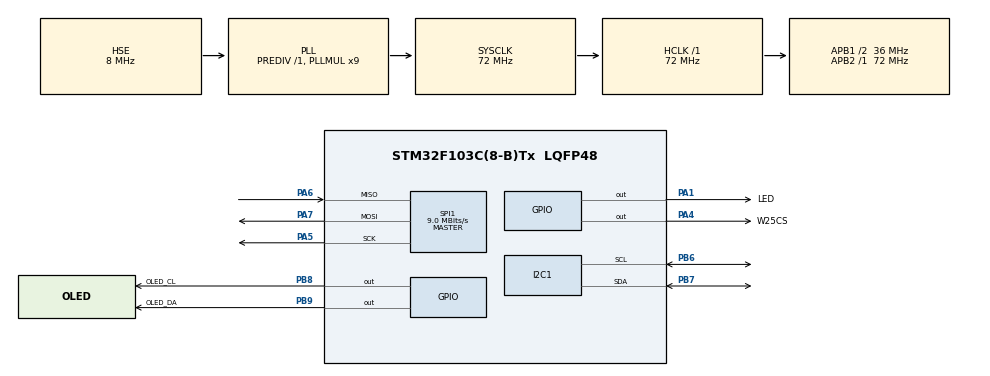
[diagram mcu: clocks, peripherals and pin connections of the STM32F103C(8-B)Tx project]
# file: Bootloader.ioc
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Mcu.Family=STM32F1
Mcu.Name=STM32F103C(8-B)Tx
Mcu.Package=LQFP48
NVIC.PriorityGroup=NVIC_PRIORITYGROUP_4
PA1.GPIO_Label=LED
PA1.Signal=GPIO_Output
PA13.Mode=Serial_Wire
PA13.Signal=SYS_JTMS-SWDIO
PA14.Mode=Serial_Wire
PA14.Signal=SYS_JTCK-SWCLK
PA4.GPIO_Label=W25CS
PA4.PinState=GPIO_PIN_SET
PA4.Signal=GPIO_Output
PA5.Mode=Full_Duplex_Master
PA5.Signal=SPI1_SCK
PA6.Mode=Full_Duplex_Master
PA6.Signal=SPI1_MISO
PA7.Mode=Full_Duplex_Master
PA7.Signal=SPI1_MOSI
PB6.Mode=I2C
PB6.Signal=I2C1_SCL
PB7.Mode=I2C
PB7.Signal=I2C1_SDA
PB8.GPIO_Label=OLED_CL
PB8.GPIO_ModeDefaultOutputPP=GPIO_MODE_OUTPUT_OD
PB8.GPIO_PuPd=GPIO_NOPULL
PB8.PinState=GPIO_PIN_SET
PB8.Signal=GPIO_Output
PB9.GPIO_Label=OLED_DA
PB9.GPIO_ModeDefaultOutputPP=GPIO_MODE_OUTPUT_OD
PB9.GPIO_PuPd=GPIO_NOPULL
PB9.PinState=GPIO_PIN_SET
PB9.Signal=GPIO_Output
PC14-OSC32_IN.Mode=LSE-External-Oscillator
PC14-OSC32_IN.Signal=RCC_OSC32_IN
PC15-OSC32_OUT.Mode=LSE-External-Oscillator
PC15-OSC32_OUT.Signal=RCC_OSC32_OUT
PD0-OSC_IN.Mode=HSE-External-Oscillator
PD0-OSC_IN.Signal=RCC_OSC_IN
PD1-OSC_OUT.Mode=HSE-External-Oscillator
PD1-OSC_OUT.Signal=RCC_OSC_OUT
ProjectManager.HeapSize=0x200
ProjectManager.StackSize=0x400
ProjectManager.TargetToolchain=CMake
RCC.AHBFreq_Value=72000000
RCC.APB1CLKDivider=RCC_HCLK_DIV2
RCC.APB1Freq_Value=36000000
RCC.APB1TimFreq_Value=72000000
RCC.APB2Freq_Value=72000000
RCC.APB2TimFreq_Value=72000000
RCC.HCLKFreq_Value=72000000
RCC.PLLMUL=RCC_PLL_MUL9
RCC.PLLSourceVirtual=RCC_PLLSOURCE_HSE
RCC.SYSCLKFreq_VALUE=72000000
RCC.SYSCLKSource=RCC_SYSCLKSOURCE_PLLCLK
RCC.USBFreq_Value=72000000
SPI1.BaudRatePrescaler=SPI_BAUDRATEPRESCALER_8
SPI1.CalculateBaudRate=9.0 MBits/s
SPI1.Direction=SPI_DIRECTION_2LINES
SPI1.Mode=SPI_MODE_MASTER
SPI1.VirtualType=VM_MASTER
board=custom

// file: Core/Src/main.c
/* USER CODE BEGIN Header */
/**
  ******************************************************************************
  * @file           : main.c
  * @brief          : Main program body
  ******************************************************************************
  * @attention
  *
  * Copyright (c) 2026 STMicroelectronics.
  * All rights reserved.
  *
  * This software is licensed under terms that can be found in the LICENSE file
  * in the root directory of this software component.
  * If no LICENSE file comes with this software, it is provided AS-IS.
  *
  ******************************************************************************
  */
/* USER CODE END Header */
#include "main.h"
#include "i2c.h"
#include "spi.h"
#include "gpio.h"

/* USER CODE BEGIN Includes */
#include "bsp_at24cxx.h"
#include "bsp_w25qxx.h"
#include "bsp_flash.h"
#include "boot_jump.h"
#include "ota_boot.h"
#include "OLED.h"

/* USER CODE END Includes */

void SystemClock_Config(void);
/* USER CODE BEGIN PFP */
static void System_Init(void);
static void Handle_BootState(OtaBootState_t state);

/* USER CODE END PFP */

int main(void)
{

  /* MCU Configuration--------------------------------------------------------*/

  /* Reset of all peripherals, Initializes the Flash interface and the Systick. */
  HAL_Init();

  /* Configure the system clock */
  SystemClock_Config();

  /* Initialize all configured peripherals */
  MX_GPIO_Init();
  MX_I2C1_Init();
  MX_SPI1_Init();
  /* USER CODE BEGIN 2 */
  System_Init();

  OLED_Clear();
  OLED_ShowString(0, 0, (uint8_t*)"Bootloader v1.0", 16);
  OLED_Update();

  /* 检查并执行 OTA 搬运 */
  OtaBootState_t boot_state = OtaBoot_CheckAndApply();
  Handle_BootState(boot_state);

  /* 检查 App 合法性并跳转 */
  if (Boot_CheckApp(APP_ADDRESS) == 0) {
      OLED_Clear();
      OLED_ShowString(0, 0, (uint8_t*)"No valid App", 16);
      OLED_ShowString(0, 16, (uint8_t*)"Wait for OTA...", 16);
      OLED_Update();
      while (1) {}
  }

  /* 跳转到 App */
  OLED_Clear();
  OLED_ShowString(0, 0, (uint8_t*)"Jumping to App", 16);
  OLED_Update();
  HAL_Delay(500);

  Boot_JumpToApp(APP_ADDRESS);

  while (1) {}
  /* USER CODE END 2 */

  /* Infinite loop */

}

/**`
  * @brief System Clock Configuration
  * @retval None
  */
void SystemClock_Config(void)
{
  RCC_OscInitTypeDef RCC_OscInitStruct = {0};
  RCC_ClkInitTypeDef RCC_ClkInitStruct = {0};

  /** Initializes the RCC Oscillators according to the specified parameters
  * in the RCC_OscInitTypeDef structure.
  */
  RCC_OscInitStruct.OscillatorType = RCC_OSCILLATORTYPE_HSE;
  RCC_OscInitStruct.HSEState = RCC_HSE_ON;
  RCC_OscInitStruct.HSEPredivValue = RCC_HSE_PREDIV_DIV1;
  RCC_OscInitStruct.HSIState = RCC_HSI_ON;
  RCC_OscInitStruct.PLL.PLLState = RCC_PLL_ON;
  RCC_OscInitStruct.PLL.PLLSource = RCC_PLLSOURCE_HSE;
  RCC_OscInitStruct.PLL.PLLMUL = RCC_PLL_MUL9;
  if (HAL_RCC_OscConfig(&RCC_OscInitStruct) != HAL_OK)
  {
    Error_Handler();
  }

  /** Initializes the CPU, AHB and APB buses clocks
  */
  RCC_ClkInitStruct.ClockType = RCC_CLOCKTYPE_HCLK|RCC_CLOCKTYPE_SYSCLK
                              |RCC_CLOCKTYPE_PCLK1|RCC_CLOCKTYPE_PCLK2;
  RCC_ClkInitStruct.SYSCLKSource = RCC_SYSCLKSOURCE_PLLCLK;
  RCC_ClkInitStruct.AHBCLKDivider = RCC_SYSCLK_DIV1;
  RCC_ClkInitStruct.APB1CLKDivider = RCC_HCLK_DIV2;
  RCC_ClkInitStruct.APB2CLKDivider = RCC_HCLK_DIV1;

  if (HAL_RCC_ClockConfig(&RCC_ClkInitStruct, FLASH_LATENCY_2) != HAL_OK)
  {
    Error_Handler();
  }
}

/* USER CODE BEGIN 4 */
static void System_Init(void)
{
    BSP_AT24CXX_Init();
    BSP_W25QXX_Init();
}

static void Handle_BootState(OtaBootState_t state)
{
    switch (state) {
        case OTA_BOOT_IDLE:
            break;
        case OTA_BOOT_SUCCESS:
            OLED_Clear();
            OLED_ShowString(0, 0, (uint8_t*)"OTA Update OK!", 16);
            OLED_Update();
            HAL_Delay(1000);
            break;
        case OTA_BOOT_ERR_ERASE:
            OLED_ShowString(0, 32, (uint8_t*)"Error: Erase", 16);
            OLED_Update();
            while (1) {}
            break;
        case OTA_BOOT_ERR_WRITE:
            OLED_ShowString(0, 32, (uint8_t*)"Error: Write", 16);
            OLED_Update();
            while (1) {}
            break;
        case OTA_BOOT_ERR_CRC:
            OLED_ShowString(0, 32, (uint8_t*)"Error: CRC", 16);
            OLED_Update();
            while (1) {}
            break;
        default:
            break;
    }
}

/* USER CODE END 4 */

void Error_Handler(void)
{
  __disable_irq();
  while (1)
  {
  }
}
